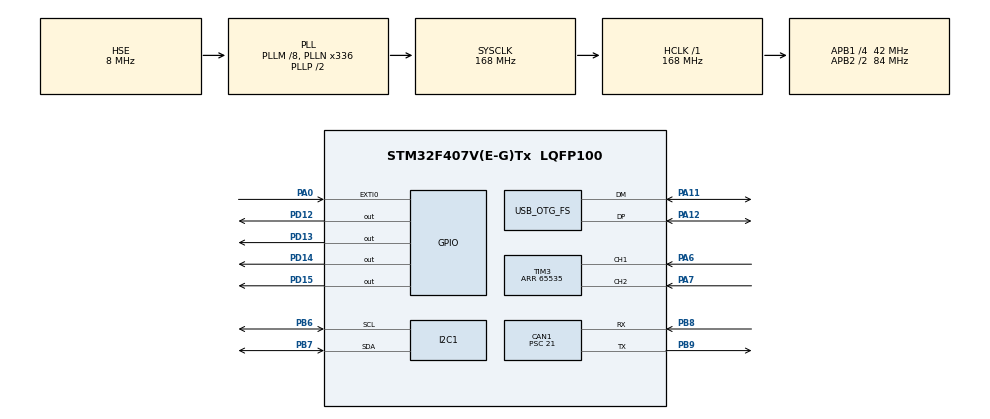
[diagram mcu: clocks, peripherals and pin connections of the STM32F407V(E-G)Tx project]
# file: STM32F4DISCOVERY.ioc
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CAN1.BS1=CAN_BS1_13TQ
CAN1.BS2=CAN_BS2_2TQ
CAN1.CalculateTimeQuantum=500.0
CAN1.Prescaler=21
I2C1.I2C_Mode=I2C_Fast
Mcu.Family=STM32F4
Mcu.Name=STM32F407V(E-G)Tx
Mcu.Package=LQFP100
NVIC.CAN1_RX0_IRQn=true\:0\:0\:false\:false\:true\:true
NVIC.CAN1_TX_IRQn=true\:0\:0\:false\:false\:true\:true
NVIC.EXTI0_IRQn=true\:0\:1\:false\:false\:true\:true
NVIC.OTG_FS_IRQn=true\:0\:0\:false\:false\:true\:false
NVIC.PriorityGroup=NVIC_PRIORITYGROUP_0
PA0-WKUP.GPIO_ModeDefaultEXTI=GPIO_MODE_IT_RISING
PA0-WKUP.Signal=GPXTI0
PA11.Mode=Device_Only
PA11.Signal=USB_OTG_FS_DM
PA12.Mode=Device_Only
PA12.Signal=USB_OTG_FS_DP
PA13.Mode=Trace_Asynchronous_SW
PA13.Signal=SYS_JTMS-SWDIO
PA14.Mode=Trace_Asynchronous_SW
PA14.Signal=SYS_JTCK-SWCLK
PA6.GPIO_PuPd=GPIO_PULLUP
PA6.GPIO_Speed=GPIO_SPEED_FREQ_VERY_HIGH
PA6.Signal=S_TIM3_CH1
PA7.GPIO_PuPd=GPIO_PULLUP
PA7.GPIO_Speed=GPIO_SPEED_FREQ_VERY_HIGH
PA7.Signal=S_TIM3_CH2
PB3.Mode=Trace_Asynchronous_SW
PB3.Signal=SYS_JTDO-SWO
PB6.Mode=I2C
PB6.Signal=I2C1_SCL
PB7.Mode=I2C
PB7.Signal=I2C1_SDA
PB8.Mode=Master
PB8.Signal=CAN1_RX
PB9.Mode=Master
PB9.Signal=CAN1_TX
PC14-OSC32_IN.Mode=LSE-External-Oscillator
PC14-OSC32_IN.Signal=RCC_OSC32_IN
PC15-OSC32_OUT.Mode=LSE-External-Oscillator
PC15-OSC32_OUT.Signal=RCC_OSC32_OUT
PD12.GPIO_Speed=GPIO_SPEED_FREQ_VERY_HIGH
PD12.Signal=GPIO_Output
PD13.GPIO_Speed=GPIO_SPEED_FREQ_VERY_HIGH
PD13.Signal=GPIO_Output
PD14.GPIO_Speed=GPIO_SPEED_FREQ_VERY_HIGH
PD14.Signal=GPIO_Output
PD15.GPIO_Speed=GPIO_SPEED_FREQ_VERY_HIGH
PD15.Signal=GPIO_Output
PH0-OSC_IN.Mode=HSE-External-Oscillator
PH0-OSC_IN.Signal=RCC_OSC_IN
PH1-OSC_OUT.Mode=HSE-External-Oscillator
PH1-OSC_OUT.Signal=RCC_OSC_OUT
ProjectManager.HeapSize=0x200
ProjectManager.StackSize=0x400
ProjectManager.TargetToolchain=SW4STM32
RCC.48MHZClocksFreq_Value=48000000
RCC.AHBFreq_Value=168000000
RCC.APB1CLKDivider=RCC_HCLK_DIV4
RCC.APB1Freq_Value=42000000
RCC.APB1TimFreq_Value=84000000
RCC.APB2CLKDivider=RCC_HCLK_DIV2
RCC.APB2Freq_Value=84000000
RCC.APB2TimFreq_Value=168000000
RCC.CortexFreq_Value=168000000
RCC.HCLKFreq_Value=168000000
RCC.HSE_VALUE=8000000
RCC.HSI_VALUE=16000000
RCC.PLLM=8
RCC.PLLN=336
RCC.PLLQ=7
RCC.SYSCLKFreq_VALUE=168000000
RCC.SYSCLKSource=RCC_SYSCLKSOURCE_PLLCLK
RCC.VCOOutputFreq_Value=336000000
SH.S_TIM3_CH1.0=TIM3_CH1,Encoder_Interface
SH.S_TIM3_CH2.0=TIM3_CH2,Encoder_Interface
TIM3.EncoderMode=TIM_ENCODERMODE_TI12
TIM3.IC1Filter=15
TIM3.IC2Filter=15
TIM3.Period=65535
USB_DEVICE.CLASS_NAME_FS=CDC
USB_DEVICE.VirtualMode-CDC_FS=Cdc
USB_DEVICE.VirtualModeFS=Cdc_FS
USB_OTG_FS.VirtualMode=Device_Only
VP_USB_DEVICE_VS_USB_DEVICE_CDC_FS.Mode=CDC_FS
board=STM32F4DISCOVERY

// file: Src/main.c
/**
  ******************************************************************************
  * @file           : main.c
  * @brief          : Main program body
  ******************************************************************************
  * This notice applies to any and all portions of this file
  * that are not between comment pairs USER CODE BEGIN and
  * USER CODE END. Other portions of this file, whether
  * inserted by the user or by software development tools
  * are owned by their respective copyright owners.
  *
  * Copyright (c) 2018 STMicroelectronics International N.V.
  * All rights reserved.
  *
  * Redistribution and use in source and binary forms, with or without
  * modification, are permitted, provided that the following conditions are met:
  *
  * 1. Redistribution of source code must retain the above copyright notice,
  *    this list of conditions and the following disclaimer.
  * 2. Redistributions in binary form must reproduce the above copyright notice,
  *    this list of conditions and the following disclaimer in the documentation
  *    and/or other materials provided with the distribution.
  * 3. Neither the name of STMicroelectronics nor the names of other
  *    contributors to this software may be used to endorse or promote products
  *    derived from this software without specific written permission.
  * 4. This software, including modifications and/or derivative works of this
  *    software, must execute solely and exclusively on microcontroller or
  *    microprocessor devices manufactured by or for STMicroelectronics.
  * 5. Redistribution and use of this software other than as permitted under
  *    this license is void and will automatically terminate your rights under
  *    this license.
  *
  * THIS SOFTWARE IS PROVIDED BY STMICROELECTRONICS AND CONTRIBUTORS "AS IS"
  * AND ANY EXPRESS, IMPLIED OR STATUTORY WARRANTIES, INCLUDING, BUT NOT
  * LIMITED TO, THE IMPLIED WARRANTIES OF MERCHANTABILITY, FITNESS FOR A
  * PARTICULAR PURPOSE AND NON-INFRINGEMENT OF THIRD PARTY INTELLECTUAL PROPERTY
  * RIGHTS ARE DISCLAIMED TO THE FULLEST EXTENT PERMITTED BY LAW. IN NO EVENT
  * SHALL STMICROELECTRONICS OR CONTRIBUTORS BE LIABLE FOR ANY DIRECT, INDIRECT,
  * INCIDENTAL, SPECIAL, EXEMPLARY, OR CONSEQUENTIAL DAMAGES (INCLUDING, BUT NOT
  * LIMITED TO, PROCUREMENT OF SUBSTITUTE GOODS OR SERVICES; LOSS OF USE, DATA,
  * OR PROFITS; OR BUSINESS INTERRUPTION) HOWEVER CAUSED AND ON ANY THEORY OF
  * LIABILITY, WHETHER IN CONTRACT, STRICT LIABILITY, OR TORT (INCLUDING
  * NEGLIGENCE OR OTHERWISE) ARISING IN ANY WAY OUT OF THE USE OF THIS SOFTWARE,
  * EVEN IF ADVISED OF THE POSSIBILITY OF SUCH DAMAGE.
  *
  ******************************************************************************
  */
#include "main.h"
#include "stm32f4xx_hal.h"
#include "usb_device.h"

/* USER CODE BEGIN Includes */

#include "math.h"
#include "usbd_cdc_if.h"
#include "epos_can.h"
#include "dwt_stm32_delay.h"

/* USER CODE END Includes */

CAN_HandleTypeDef hcan1;

I2C_HandleTypeDef hi2c1;

TIM_HandleTypeDef htim3;

/* USER CODE BEGIN PV */
/* Private variables ---------------------------------------------------------*/

const uint16_t adxl_device_a_address=(0x53<<1);
const uint16_t adxl_device_b_address=(0x1d<<1);

volatile uint8_t system_task=0;

volatile int16_t epos_current =0;
volatile int32_t epos_position=0;
volatile int32_t capture3=0, capture3_prev=0, encoder3=0;

volatile uint32_t useconds=0, useconds_prev=0, time_of_start=0;

/* USER CODE END PV */

void SystemClock_Config(void);
static void MX_GPIO_Init(void);
static void MX_CAN1_Init(void);
static void MX_TIM3_Init(void);
static void MX_I2C1_Init(void);

/* USER CODE BEGIN PFP */
/* Private function prototypes -----------------------------------------------*/

/* USER CODE END PFP */

/* USER CODE BEGIN 0 */
void adxl_write(const uint16_t adxl_address, uint8_t reg, uint8_t value) {
  uint8_t data[2];
  data[0] = reg;
  data[1] = value;
  HAL_I2C_Master_Transmit(&hi2c1, adxl_address, data, 2, 100);
}

void adxl_read_values(const uint16_t adxl_address, uint8_t reg, uint8_t *buf) {
  HAL_I2C_Mem_Read(&hi2c1, adxl_address, reg, 1, (uint8_t *)buf, 6, 3);
}

void get_adxl_xyz(const uint16_t adxl_address, float *x, float *y, float *z) {
  uint8_t data_rec[6];
  adxl_read_values(adxl_address, 0x32, data_rec);
  int16_t ix = ((data_rec[1]<<8)|data_rec[0]);
  int16_t iy = ((data_rec[3]<<8)|data_rec[2]);
  int16_t iz = ((data_rec[5]<<8)|data_rec[4]);
  *x = ix * .0039;
  *y = iy * .0039;
  *z = iz * .0039;
}

float get_adxl_angle_(const uint16_t adxl_address) {
  float x,y,z;
  get_adxl_xyz(adxl_address, &x, &y, &z);
  float angle = atan2(x,y);
  return angle;
}

float get_adxl_angle() {
  float ax,ay,az,bx,by,bz;
  get_adxl_xyz(adxl_device_a_address, &ax, &ay, &az);
  get_adxl_xyz(adxl_device_b_address, &bx, &by, &bz);
  const float mu = 2.;
  return -atan2(ax-mu*bx,-ay+mu*by);
}

uint8_t adxl_read_address(const uint16_t adxl_address, uint8_t reg) {
  uint8_t val = 0;
  HAL_I2C_Mem_Read(&hi2c1, adxl_address, reg, 1, &val, 1, 3);
  return val;
}

void adxl_init (const uint16_t adxl_address) {
  adxl_read_address(adxl_address, 0x00); // read the DEVID
  adxl_write(adxl_address, 0x31, 0x00);  // data_format range= +- 4g
  adxl_write(adxl_address, 0x2d, 0x00);  // reset all bits
  adxl_write(adxl_address, 0x2d, 0x08);  // power_cntl measure and wake up 8hz
  adxl_write(adxl_address, 0x2c, 0x0f);  // 3200 Hz output data rate
}

void HAL_TIM_PeriodElapsedCallback(TIM_HandleTypeDef *htim) {
	if (htim->Instance==TIM4) {
	  /*
		uint16_t LEDS[4] = {GPIO_PIN_12, GPIO_PIN_13, GPIO_PIN_14, GPIO_PIN_15};
		HAL_GPIO_TogglePin(GPIOD, LEDS[led]);
		led = (led<3 ? led+1 : 0);
	   */
	}
}

void HAL_CAN_RxFifo0MsgPendingCallback(CAN_HandleTypeDef *hcan) {
  CAN_RxHeaderTypeDef RxHeader;
  uint8_t RxData[8] = { 0 };
  if (HAL_CAN_GetRxMessage(hcan, CAN_RX_FIFO0, &RxHeader, RxData) != HAL_OK) {
    _Error_Handler(__FILE__, __LINE__);
  }
  if ((RxHeader.StdId == 0x181) && (RxHeader.IDE == CAN_ID_STD) && (RxHeader.DLC == 6)) {
    HAL_GPIO_TogglePin(GPIOD, GPIO_PIN_13);
    epos_current  = *(int16_t *)(RxData);
    epos_position = *(int32_t *)(RxData+2);
  }
}

void can_configure() {
  CAN_FilterTypeDef sFilterConfig;
  sFilterConfig.FilterBank = 0;
  sFilterConfig.FilterMode = CAN_FILTERMODE_IDMASK;
  sFilterConfig.FilterScale = CAN_FILTERSCALE_32BIT;
  sFilterConfig.FilterIdHigh = 0x0000;
  sFilterConfig.FilterIdLow = 0x0000;
  sFilterConfig.FilterMaskIdHigh = 0x0000;
  sFilterConfig.FilterMaskIdLow = 0x0000;
  sFilterConfig.FilterFIFOAssignment = CAN_RX_FIFO0;
  sFilterConfig.FilterActivation = ENABLE;
  sFilterConfig.SlaveStartFilterBank = 14;

  if (HAL_CAN_ConfigFilter(&hcan1, &sFilterConfig) != HAL_OK)
    _Error_Handler(__FILE__, __LINE__);

  if (HAL_CAN_Start(&hcan1) != HAL_OK)
    _Error_Handler(__FILE__, __LINE__);

  if (HAL_CAN_ActivateNotification(&hcan1, CAN_IT_RX_FIFO0_MSG_PENDING) != HAL_OK)
    _Error_Handler(__FILE__, __LINE__);
}

float get_rw_angle() {
  return epos_position * (2.*M_PI / 48.);
}

float get_current() {
  return epos_current/1000.;
}

void set_current(float ref) {
  setCurrent(0x201, ref*1000);
}

float get_pendulum_angle(uint8_t mod2p) {
  // handle eventual overflows in the encoder reading
  capture3 = TIM3->CNT;
  encoder3 += capture3 - capture3_prev;
  if (labs(capture3 - capture3_prev) > 32767) {
    encoder3 += (capture3 < capture3_prev ? 65535 : -65535);
  }
  capture3_prev = capture3;

  float encoder_angle = (encoder3 - 5000) * (2.*M_PI/10000.);
  if (mod2p) {
    while (encoder_angle >  M_PI) encoder_angle -= 2.*M_PI; // mod 2pi
    while (encoder_angle < -M_PI) encoder_angle += 2.*M_PI;
  }
  return encoder_angle;
}

// frequencies are given in mHz
void chirp_current_open_loop(float amplitude, float start_freq, float end_freq, uint32_t duration_ms) {
  char buff[1024] = "time(s),reference current(A),current(A),rw angle(rad),pendulum angle(rad)\r\n";
  CDC_Transmit_FS((uint8_t *)buff, strlen(buff));

  uint32_t time_of_start, useconds;
  useconds = time_of_start = DWT_us();

  while (useconds < time_of_start + duration_ms * 1000L) {
    useconds = DWT_us();
    float t = (useconds - time_of_start) * 0.000001;
    float phi = (start_freq + (end_freq - start_freq) * (t*1000.) / (float) duration_ms) * t;
    float current_ref = sin(2. * M_PI * phi) * amplitude;
    set_current(current_ref);

    float current_measured = get_current();
    float mesQr = get_rw_angle();
    float mesQ  = get_pendulum_angle(0);

    sprintf(buff, "%3.6f, %3.6f, %3.6f, %3.6f, %3.6f\r\n", (useconds - time_of_start) * 1e-6, current_ref, current_measured, mesQr, mesQ);
    CDC_Transmit_FS((uint8_t *)buff, strlen(buff));
    while (DWT_us() - useconds < 2000);
  }
  set_current(0);
}

/* USER CODE END 0 */

int main(void)
{

  /* MCU Configuration----------------------------------------------------------*/

  /* Reset of all peripherals, Initializes the Flash interface and the Systick. */
  HAL_Init();

  /* Configure the system clock */
  SystemClock_Config();

  /* USER CODE BEGIN SysInit */

  if (DWT_Delay_Init() != HAL_OK)
    _Error_Handler(__FILE__, __LINE__);

  /* USER CODE END SysInit */

  /* Initialize all configured peripherals */
  MX_GPIO_Init();
  MX_CAN1_Init();
  MX_USB_DEVICE_Init();
  MX_TIM3_Init();
  MX_I2C1_Init();
  /* USER CODE BEGIN 2 */

  HAL_TIM_Encoder_Start(&htim3, TIM_CHANNEL_ALL);

//  adxl_init(adxl_device_a_address);
//  adxl_init(adxl_device_b_address);

  can_configure();
  eposReset();
  HAL_Delay(1000);
  enableEpos(0x01);
  enterOperational();

 // HAL_Delay(5000);

  /* USER CODE END 2 */

  /* Infinite loop */
  /* USER CODE BEGIN WHILE */

  float hatX1  = 0., hatX2  = 0., hatX3  = 0.;
  float hatXp1 = 0., hatXp2 = 0., hatXr1 = 0., hatXr2 = 0.;
  float Z = .0;

  while (1) {
    if (0 && system_task) {
      HAL_GPIO_TogglePin(GPIOD, GPIO_PIN_12);
      HAL_Delay(3000);
      chirp_current_open_loop(5., .5, 2., 10000);
      system_task = 0;
    }

    float mesQ  = get_pendulum_angle(1);
    float mesQr = get_rw_angle();
    float mesI  = get_current();

    useconds_prev = useconds;
    useconds = DWT_us();

    if (system_task != 2) {
      char buff2[255];
      sprintf(buff2, "working ok, timestamp: %lu, task: %d %f %f\r\n", DWT_us(), system_task, mesQ, mesQr);
      CDC_Transmit_FS((uint8_t *) buff2, strlen(buff2));
      set_current(0);
    }

  /* USER CODE END WHILE */

  /* USER CODE BEGIN 3 */

    if (1 == system_task) {
      hatX1 = mesQ;
      hatX2 = hatX3 = 0.;

      hatXp1 = mesQ;
      hatXr1 = mesQr;
      hatXr2 = hatXp2 = 0.;

      if (fabs(mesQ) < .1) {
        system_task = 2;
        time_of_start = useconds;
        char buff2[255] = "#time(s),reference current(A),current(A),rw angle(rad),pendulum angle(rad)\r\n";
        CDC_Transmit_FS((uint8_t *) buff2, strlen(buff2));
      }
    }
    if (2 == system_task) {
      float dt = (useconds - useconds_prev) / 1000000.; // seconds

      const float a = .75;
      const float k1 = 7.;
      const float k2 = 12.;

      const float g = 9.81;
      const float k = 0.0369;
      const float Jr = 0.001248;
      const float mr = .35;
      const float lr = .22;

      const float Jp = 0.0038;
      const float mp = 0.578;
      const float lp = 0.10;

      const float J = Jp + mr*lr*lr + mp*lp*lp;
      const float ml = mp*lp + mr*lr;

//      const float K[] = {139., 20., 0.29};
      const float K[] = {581.6, 83.4, 1.18};
//      const float L[] = {52., 278., -31.};
//      const float L[] = {20.6260, 121.5939, -6.7414};

//      float qhatX1 = ( roundf(hatX1*5000./M_PI) ) * (M_PI/5000.);
//      float qhatX3 = ( roundf(hatX3*5000./M_PI) ) * (M_PI/5000.);

      float sinQ = sin(mesQ - hatX3);
      float friction = 0.1;
      float effI = mesI - (hatXr2 > 0 ? friction : -friction);

      float ep = hatXp1 - (mesQ - hatX3);
      float dhatXp1 = hatXp2                  - k1*pow(fabs(ep),       a)*(ep>0?1.:-1.);
      float dhatXp2 = -k/J*effI + ml*g/J*sinQ - k2*pow(fabs(ep), 2.*a-1.)*(ep>0?1.:-1.);
      hatXp1 += dt*dhatXp1;
      hatXp2 += dt*dhatXp2;

      float er = hatXr1 - mesQr;
      float dhatXr1 = hatXr2                             - k1*pow(fabs(er),       a)*(er>0?1.:-1.);
      float dhatXr2 = (J+Jr)/(J*Jr)*k*effI - ml*g/J*sinQ - k2*pow(fabs(er), 2.*a-1.)*(er>0?1.:-1.);
      hatXr1 += dt*dhatXr1;
      hatXr2 += dt*dhatXr2;

      float a1 = ml*g/J;
      float b1 = -k/J;
      float L = -.033;

      Z += dt*(-a1*sinQ-b1*effI);
      hatX3 = L*(hatXp2 + Z);

#if 0
      float ytilde = hatX1 + hatX3 - mesQ;

      float dhatX1 = hatX2 - L[0]*ytilde;
      float dhatX2 = b1*(mesI - (hatXr2 > 0 ? friction : -friction)) + a1*sinQ - L[1]*ytilde;
      float dhatX3 = -L[2]*ytilde;

      hatX1 += dt*dhatX1;
      hatX2 += dt*dhatX2;
      if (fabs(ytilde)>4*2.*M_PI/10000.)
      hatX3 += dt*dhatX3;
#endif

//      int int_hatX3 = (int)(hatX3 * 10000./(2.*M_PI) + 5000);
//      hatX3 = (int_hatX3 - 5000) * (2.*M_PI/10000.);

//      float refI = K[0]*mesQ + K[1]*hatXp2 + K[2]*hatXr2;
      float refI = K[0]*(mesQ-hatX3) + K[1]*hatXp2 + K[2]*hatXr2;
      if (refI >  5.) refI =  5.;
      if (refI < -5.) refI = -5.;

      set_current(refI);

      if (fabs(get_pendulum_angle(1)) > .3) {
        system_task = 9;
        set_current(0);
      }

      char buff[1024] = { 0 };
//      sprintf(buff, "%3.5f, %3.5f, %3.5f, %3.5f, %3.5f, %3.5f, %3.5f, %3.5f, %3.5f, %3.5f, %3.5f, %3.5f\r\n", (useconds - time_of_start)*1e-6, refI, mesI, mesQr, mesQ, hatX1, hatX2, hatX3, hatXp1, hatXp2, hatXr1, hatXr2);
       sprintf(buff, "%3.6f, %3.6f, %3.6f, %3.6f, %3.6f\r\n", (useconds - time_of_start)*1e-6, refI, mesI, mesQr, mesQ);
      CDC_Transmit_FS((uint8_t *) buff, strlen(buff));
    }

    while (DWT_us() - useconds < 2000);
  }
  /* USER CODE END 3 */

}

void SystemClock_Config(void)
{

  RCC_OscInitTypeDef RCC_OscInitStruct;
  RCC_ClkInitTypeDef RCC_ClkInitStruct;

    /**Configure the main internal regulator output voltage
    */
  __HAL_RCC_PWR_CLK_ENABLE();

  __HAL_PWR_VOLTAGESCALING_CONFIG(PWR_REGULATOR_VOLTAGE_SCALE1);

    /**Initializes the CPU, AHB and APB busses clocks
    */
  RCC_OscInitStruct.OscillatorType = RCC_OSCILLATORTYPE_HSE;
  RCC_OscInitStruct.HSEState = RCC_HSE_ON;
  RCC_OscInitStruct.PLL.PLLState = RCC_PLL_ON;
  RCC_OscInitStruct.PLL.PLLSource = RCC_PLLSOURCE_HSE;
  RCC_OscInitStruct.PLL.PLLM = 8;
  RCC_OscInitStruct.PLL.PLLN = 336;
  RCC_OscInitStruct.PLL.PLLP = RCC_PLLP_DIV2;
  RCC_OscInitStruct.PLL.PLLQ = 7;
  if (HAL_RCC_OscConfig(&RCC_OscInitStruct) != HAL_OK)
  {
    _Error_Handler(__FILE__, __LINE__);
  }

    /**Initializes the CPU, AHB and APB busses clocks
    */
  RCC_ClkInitStruct.ClockType = RCC_CLOCKTYPE_HCLK|RCC_CLOCKTYPE_SYSCLK
                              |RCC_CLOCKTYPE_PCLK1|RCC_CLOCKTYPE_PCLK2;
  RCC_ClkInitStruct.SYSCLKSource = RCC_SYSCLKSOURCE_PLLCLK;
  RCC_ClkInitStruct.AHBCLKDivider = RCC_SYSCLK_DIV1;
  RCC_ClkInitStruct.APB1CLKDivider = RCC_HCLK_DIV4;
  RCC_ClkInitStruct.APB2CLKDivider = RCC_HCLK_DIV2;

  if (HAL_RCC_ClockConfig(&RCC_ClkInitStruct, FLASH_LATENCY_5) != HAL_OK)
  {
    _Error_Handler(__FILE__, __LINE__);
  }

    /**Configure the Systick interrupt time
    */
  HAL_SYSTICK_Config(HAL_RCC_GetHCLKFreq()/1000);

    /**Configure the Systick
    */
  HAL_SYSTICK_CLKSourceConfig(SYSTICK_CLKSOURCE_HCLK);

  /* SysTick_IRQn interrupt configuration */
  HAL_NVIC_SetPriority(SysTick_IRQn, 0, 0);
}

/* CAN1 init function */
static void MX_CAN1_Init(void)
{

  hcan1.Instance = CAN1;
  hcan1.Init.Prescaler = 21;
  hcan1.Init.Mode = CAN_MODE_NORMAL;
  hcan1.Init.SyncJumpWidth = CAN_SJW_1TQ;
  hcan1.Init.TimeSeg1 = CAN_BS1_13TQ;
  hcan1.Init.TimeSeg2 = CAN_BS2_2TQ;
  hcan1.Init.TimeTriggeredMode = DISABLE;
  hcan1.Init.AutoBusOff = DISABLE;
  hcan1.Init.AutoWakeUp = DISABLE;
  hcan1.Init.AutoRetransmission = DISABLE;
  hcan1.Init.ReceiveFifoLocked = DISABLE;
  hcan1.Init.TransmitFifoPriority = DISABLE;
  if (HAL_CAN_Init(&hcan1) != HAL_OK)
  {
    _Error_Handler(__FILE__, __LINE__);
  }

}

/* I2C1 init function */
static void MX_I2C1_Init(void)
{

  hi2c1.Instance = I2C1;
  hi2c1.Init.ClockSpeed = 400000;
  hi2c1.Init.DutyCycle = I2C_DUTYCYCLE_2;
  hi2c1.Init.OwnAddress1 = 0;
  hi2c1.Init.AddressingMode = I2C_ADDRESSINGMODE_7BIT;
  hi2c1.Init.DualAddressMode = I2C_DUALADDRESS_DISABLE;
  hi2c1.Init.OwnAddress2 = 0;
  hi2c1.Init.GeneralCallMode = I2C_GENERALCALL_DISABLE;
  hi2c1.Init.NoStretchMode = I2C_NOSTRETCH_DISABLE;
  if (HAL_I2C_Init(&hi2c1) != HAL_OK)
  {
    _Error_Handler(__FILE__, __LINE__);
  }

}

/* TIM3 init function */
static void MX_TIM3_Init(void)
{

  TIM_Encoder_InitTypeDef sConfig;
  TIM_MasterConfigTypeDef sMasterConfig;

  htim3.Instance = TIM3;
  htim3.Init.Prescaler = 0;
  htim3.Init.CounterMode = TIM_COUNTERMODE_UP;
  htim3.Init.Period = 65535;
  htim3.Init.ClockDivision = TIM_CLOCKDIVISION_DIV1;
  sConfig.EncoderMode = TIM_ENCODERMODE_TI12;
  sConfig.IC1Polarity = TIM_ICPOLARITY_RISING;
  sConfig.IC1Selection = TIM_ICSELECTION_DIRECTTI;
  sConfig.IC1Prescaler = TIM_ICPSC_DIV1;
  sConfig.IC1Filter = 15;
  sConfig.IC2Polarity = TIM_ICPOLARITY_RISING;
  sConfig.IC2Selection = TIM_ICSELECTION_DIRECTTI;
  sConfig.IC2Prescaler = TIM_ICPSC_DIV1;
  sConfig.IC2Filter = 15;
  if (HAL_TIM_Encoder_Init(&htim3, &sConfig) != HAL_OK)
  {
    _Error_Handler(__FILE__, __LINE__);
  }

  sMasterConfig.MasterOutputTrigger = TIM_TRGO_RESET;
  sMasterConfig.MasterSlaveMode = TIM_MASTERSLAVEMODE_DISABLE;
  if (HAL_TIMEx_MasterConfigSynchronization(&htim3, &sMasterConfig) != HAL_OK)
  {
    _Error_Handler(__FILE__, __LINE__);
  }

}

/** Configure pins as
        * Analog
        * Input
        * Output
        * EVENT_OUT
        * EXTI
*/
static void MX_GPIO_Init(void)
{

  GPIO_InitTypeDef GPIO_InitStruct;

  /* GPIO Ports Clock Enable */
  __HAL_RCC_GPIOC_CLK_ENABLE();
  __HAL_RCC_GPIOH_CLK_ENABLE();
  __HAL_RCC_GPIOA_CLK_ENABLE();
  __HAL_RCC_GPIOD_CLK_ENABLE();
  __HAL_RCC_GPIOB_CLK_ENABLE();

  /*Configure GPIO pin Output Level */
  HAL_GPIO_WritePin(GPIOD, GPIO_PIN_12|GPIO_PIN_13|GPIO_PIN_14|GPIO_PIN_15, GPIO_PIN_RESET);

  /*Configure GPIO pin : PA0 */
  GPIO_InitStruct.Pin = GPIO_PIN_0;
  GPIO_InitStruct.Mode = GPIO_MODE_IT_RISING;
  GPIO_InitStruct.Pull = GPIO_NOPULL;
  HAL_GPIO_Init(GPIOA, &GPIO_InitStruct);

  /*Configure GPIO pins : PD12 PD13 PD14 PD15 */
  GPIO_InitStruct.Pin = GPIO_PIN_12|GPIO_PIN_13|GPIO_PIN_14|GPIO_PIN_15;
  GPIO_InitStruct.Mode = GPIO_MODE_OUTPUT_PP;
  GPIO_InitStruct.Pull = GPIO_NOPULL;
  GPIO_InitStruct.Speed = GPIO_SPEED_FREQ_VERY_HIGH;
  HAL_GPIO_Init(GPIOD, &GPIO_InitStruct);

  /* EXTI interrupt init*/
  HAL_NVIC_SetPriority(EXTI0_IRQn, 0, 1);
  HAL_NVIC_EnableIRQ(EXTI0_IRQn);

}

/* USER CODE BEGIN 4 */

int _write(int file, char *ptr, int len) {
  /* Implement your write code here, this is used by puts and printf for example */
  for (int i=0 ; i<len ; i++)
    ITM_SendChar((*ptr++));
  return len;
}

/* USER CODE END 4 */

void _Error_Handler(char *file, int line)
{
  /* USER CODE BEGIN Error_Handler_Debug */
  /* User can add his own implementation to report the HAL error return state */
  HAL_GPIO_WritePin(GPIOD, GPIO_PIN_15, GPIO_PIN_SET);

  while (1) {
    __ASM volatile ("NOP");
  }
  /* USER CODE END Error_Handler_Debug */
}

/************************ (C) COPYRIGHT STMicroelectronics *****END OF FILE****/
